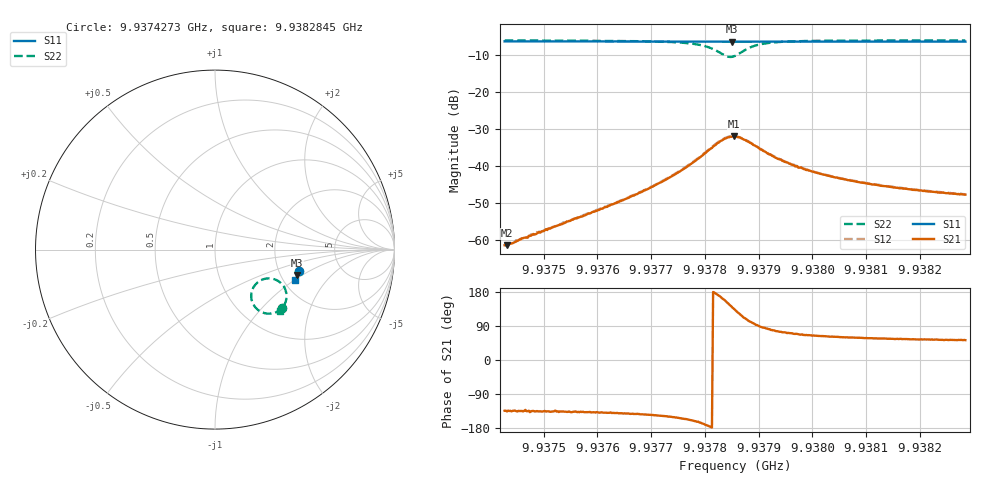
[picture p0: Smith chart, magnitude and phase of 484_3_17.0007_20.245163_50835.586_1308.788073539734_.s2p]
#  HZ  S  RI  R  50.00
! Rohde & Schwarz Vector Network Analyzer
! Rohde-Schwarz,ZNB20-2Port,1311601062101988,3.16
! Created: UTC 3/20/2024, 11:13:49 PM
! freq[Hz]  re:S11  im:S11  re:S21  im:S21  re:S12  im:S12  re:S22  im:S22
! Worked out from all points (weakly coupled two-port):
!   401 points, 9.9374273 GHz to 9.9382845 GHz, reference 50 ohm
!   highest |S21| = -31.98 dB at 9.9378538 GHz (marker M1); lowest = -61.3 dB at 9.9374316 GHz (marker M2)
!   lowest |S11| = -6.4 dB at 9.9378495 GHz (marker M3), VSWR 2.83, Z = 122 - j45.3 ohm
!   |S11| at or under -10 dB: nowhere
!   |S22| runs from -10.5 to -6.1 dB; largest |S21 - S12| = 0.0011
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9.93742731e9  0.4686 -0.1167  -0.000596 -0.000619  -0.000581 -0.000599  0.3758 -0.3252
9.9374316e9  0.4687 -0.1171  -0.000614 -0.000598  -0.000603 -0.000597  0.3751 -0.3256
9.93745303e9  0.4682 -0.1186  -0.000697 -0.000716  -0.000727 -0.000699  0.3735 -0.3273
9.9375709e9  0.4657 -0.1265  -0.00154 -0.00142  -0.0016 -0.0014  0.3603 -0.3374
9.93765019e9  0.4636 -0.1318  -0.00277 -0.00225  -0.00283 -0.00223  0.3456 -0.3462
9.93771449e9  0.4621 -0.1363  -0.00496 -0.00325  -0.00503 -0.00321  0.324 -0.3539
9.93776163e9  0.4602 -0.1395  -0.00849 -0.00387  -0.00874 -0.00384  0.2926 -0.3566
9.93780021e9  0.4587 -0.1419  -0.0148 -0.00246  -0.0151 -0.00226  0.2427 -0.3384
9.93781521e9  0.4578 -0.1427  -0.0184 0.000183  -0.0188 0.000443  0.2178 -0.3122
9.93783021e9  0.4568 -0.1432  -0.0213 0.00573  -0.0216 0.00628  0.202 -0.2646
9.93784093e9  0.4565 -0.1431  -0.0213 0.0113  -0.0215 0.0121  0.2094 -0.2205
9.9378495e9  0.4564 -0.143  -0.0194 0.0158  -0.0193 0.0167  0.2319 -0.1878
9.93785379e9  0.4564 -0.1431  -0.0179 0.0177  -0.0176 0.0186  0.2479 -0.1753
9.93785593e9  0.4565 -0.1431  -0.0169 0.0186  -0.0166 0.0195  0.2564 -0.1704
9.93786664e9  0.4569 -0.1433  -0.0116 0.0211  -0.0111 0.0216  0.3017 -0.1602
9.93788165e9  0.4573 -0.1442  -0.00468 0.0207  -0.00439 0.0211  0.3521 -0.1751
9.93790522e9  0.4573 -0.146  0.000949 0.0167  0.00129 0.0168  0.3886 -0.2157
9.93794808e9  0.4567 -0.1494  0.00333 0.011  0.00374 0.011  0.3986 -0.2652
9.93799952e9  0.4557 -0.1531  0.00362 0.00766  0.0038 0.00772  0.3926 -0.2939
9.93805523e9  0.4541 -0.1569  0.00337 0.00585  0.00349 0.00587  0.3852 -0.31
9.9381431e9  0.4518 -0.1628  0.00293 0.00438  0.00307 0.00439  0.3755 -0.3252
9.93828454e9  0.4478 -0.1719  0.00253 0.00328  0.00259 0.00326  0.3631 -0.3394
